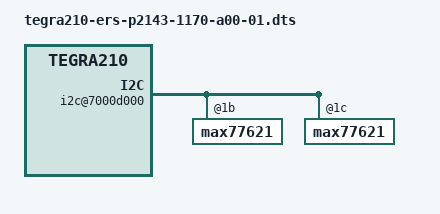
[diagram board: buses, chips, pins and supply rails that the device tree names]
/*
 * This is to support ERS E2143 with E2174 - MAX77621 PMIC.
 *
 * Copyright (c) 2015, NVIDIA CORPORATION.  All rights reserved.
 *
 * This program is free software; you can redistribute it and/or modify
 * it under the terms of the GNU General Public License as published by
 * the Free Software Foundation; version 2 of the License.
 *
 * This program is distributed in the hope that it will be useful, but WITHOUT
 * ANY WARRANTY; without even the implied warranty of MERCHANTABILITY or
 * FITNESS FOR A PARTICULAR PURPOSE.  See the GNU General Public License for
 * more details.
 */

#include "tegra210-ers-e2220-1170-a00-00-common.dts"
#include "tegra210-platforms/tegra210-ers-p2143-emc.dtsi"

/ {
	nvidia,dtsfilename = __FILE__;

	 i2c@7000d000 {
		max77621@1b {
			 status = "okay";
		};

		max77621@1c {
			status = "okay";
		};
	};

	pwm_regulators {
		pwm-regulator@0 {
			status = "disabled";
		};

		pwm-regulator@1 {
			status = "disabled";
		};
	};

	dfll-ovr@70110000 {
		status = "disabled";
	};

	dfll-max77621@70110000 {
		status = "okay";
	};

	dvfs_rails {
		vdd-cpu-rail-ovr@0 {
			status = "disabled";
		};

		vdd-gpu-rail-ovr@1 {
			status = "disabled";
		};

		vdd-cpu-rail-max77621@2 {
			status = "okay";
		};

		vdd-gpu-rail-max77621@3 {
			status = "okay";
		};
	};

	thermal-zones {
		PMIC-Die-max77621-0 {
			status = "okay";
		};

		PMIC-Die-max77621-1 {
			status = "okay";
		};
	};
};
